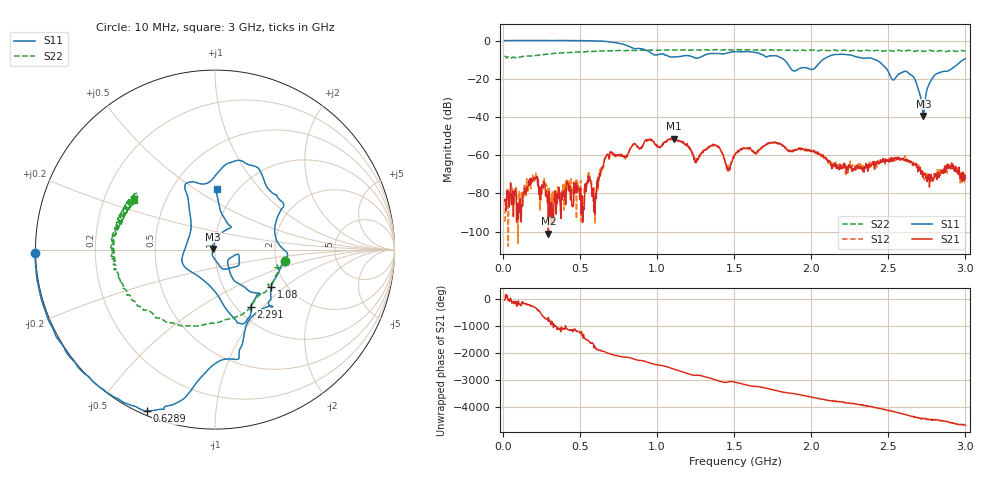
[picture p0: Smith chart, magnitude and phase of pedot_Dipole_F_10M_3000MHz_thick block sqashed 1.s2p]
!  08/05/2026  14:59:58
! Ref Plane: 0.000 mm
# MHZ S MA R  50
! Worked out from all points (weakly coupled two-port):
!   1001 points, 10 MHz to 3 GHz, reference 50 ohm
!   highest |S21| = -51.35 dB at 1.11 GHz (marker M1); lowest = -101.1 dB at 294.1 MHz (marker M2)
!   lowest |S11| = -39.4 dB at 2.728 GHz (marker M3), VSWR 1.02, Z = 49 + j0.32 ohm
!   |S11| at or under -10 dB: 1.824 GHz to 2.075 GHz (251.5 MHz wide, 12.9 % of centre); 2.414 GHz to 2.987 GHz (572.7 MHz wide, 21.2 % of centre)
!   |S22| runs from -9.2 to -4.7 dB; largest |S21 - S12| = 0.00028
!   S11 on the Smith chart (normalised r, x): 10 MHz: -0.00, -0.01; 628.9 MHz: 0.02, -0.66; 1.08 GHz: 1.66, -0.81; 2.291 GHz: 1.16, -0.86; 3 GHz: 0.82, +0.62
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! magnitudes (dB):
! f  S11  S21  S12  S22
! 10 MHz  0.0  -83.9  -94.8  -8.1
! 204.3 MHz  0.0  -72.9  -74.1  -7.9
! 294.1 MHz  0.1  -101.1  -79.7  -7.1
! 509.3 MHz  0.0  -87.4  -82.5  -6.1
! 560.2 MHz  -0.1  -71.6  -72.7  -5.6
! 593 MHz  -0.2  -83.2  -88.9  -5.6
! 628.9 MHz  -0.2  -71.1  -67.5  -5.5
! 688.7 MHz  -0.6  -61.7  -62.2  -5.3
! 1.009 GHz  -7.3  -55.4  -55.7  -5.1
! 1.08 GHz  -8.5  -51.6  -51.8  -4.9
! 1.11 GHz  -8.5  -51.4  -51.8  -4.9
! 1.251 GHz  -9.2  -63.2  -63.8  -4.8
! 1.361 GHz  -6.7  -54.2  -54.5  -4.9
! 1.457 GHz  -6.4  -68.2  -67.3  -4.8
! 1.505 GHz  -5.8  -59.9  -59.6  -4.8
! 2.004 GHz  -15.1  -58.3  -57.7  -4.9
! 2.291 GHz  -8.5  -65.8  -66.1  -5.0
! 2.504 GHz  -16.9  -63.6  -63.5  -5.1
! 2.653 GHz  -18.3  -63.7  -63.4  -5.4
! 2.728 GHz  -39.4  -70.0  -69.2  -5.6
! 2.797 GHz  -18.5  -71.1  -71.6  -5.6
! 3 GHz  -9.5  -72.3  -71.7  -5.6
